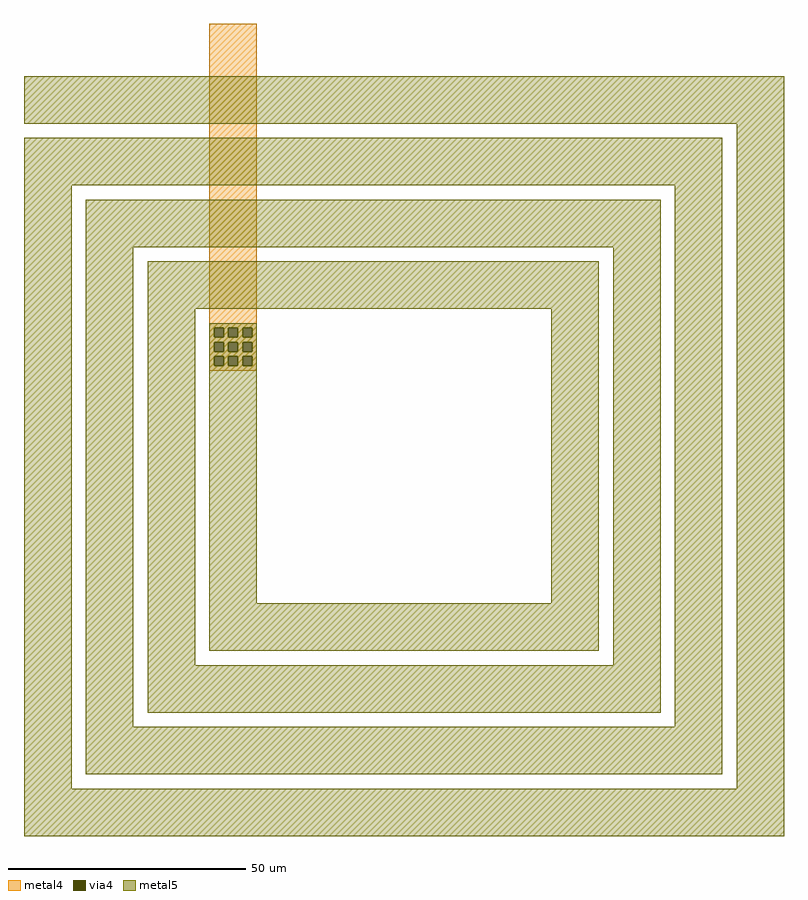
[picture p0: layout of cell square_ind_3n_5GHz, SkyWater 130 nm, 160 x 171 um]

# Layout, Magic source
magic
tech sky130B
<< metal4 >>
rect 1700 -4400 2700 2000
rect 1700 -4600 1800 -4400
rect 2000 -4600 2100 -4400
rect 2300 -4600 2400 -4400
rect 2600 -4600 2700 -4400
rect 1700 -4700 2700 -4600
rect 1700 -4900 1800 -4700
rect 2000 -4900 2100 -4700
rect 2300 -4900 2400 -4700
rect 2600 -4900 2700 -4700
rect 1700 -5000 2700 -4900
rect 1700 -5200 1800 -5000
rect 2000 -5200 2100 -5000
rect 2300 -5200 2400 -5000
rect 2600 -5200 2700 -5000
rect 1700 -5300 2700 -5200
<< via4 >>
rect 1800 -4600 2000 -4400
rect 2100 -4600 2300 -4400
rect 2400 -4600 2600 -4400
rect 1800 -4900 2000 -4700
rect 2100 -4900 2300 -4700
rect 2400 -4900 2600 -4700
rect 1800 -5200 2000 -5000
rect 2100 -5200 2300 -5000
rect 2400 -5200 2600 -5000
<< metal5 >>
rect -2200 -100 13800 900
rect -2200 -1400 12500 -400
rect -2200 -14100 -1200 -1400
rect -900 -2700 11200 -1700
rect -900 -12800 100 -2700
rect 400 -4000 9900 -3000
rect 400 -11500 1400 -4000
rect 1700 -4400 2700 -4300
rect 1700 -4600 1800 -4400
rect 2000 -4600 2100 -4400
rect 2300 -4600 2400 -4400
rect 2600 -4600 2700 -4400
rect 1700 -4700 2700 -4600
rect 1700 -4900 1800 -4700
rect 2000 -4900 2100 -4700
rect 2300 -4900 2400 -4700
rect 2600 -4900 2700 -4700
rect 1700 -5000 2700 -4900
rect 1700 -5200 1800 -5000
rect 2000 -5200 2100 -5000
rect 2300 -5200 2400 -5000
rect 2600 -5200 2700 -5000
rect 1700 -10200 2700 -5200
rect 8900 -10200 9900 -4000
rect 1700 -11200 9900 -10200
rect 10200 -11500 11200 -2700
rect 400 -12500 11200 -11500
rect 11500 -12800 12500 -1400
rect -900 -13800 12500 -12800
rect 12800 -14100 13800 -100
rect -2200 -15100 13800 -14100
<< end >>
